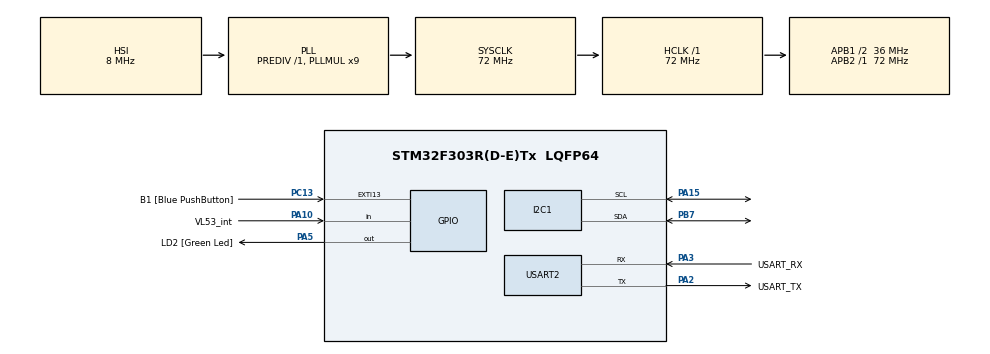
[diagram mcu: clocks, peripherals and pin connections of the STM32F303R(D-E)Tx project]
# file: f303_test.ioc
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Mcu.Family=STM32F3
Mcu.Name=STM32F303R(D-E)Tx
Mcu.Package=LQFP64
NVIC.PriorityGroup=NVIC_PRIORITYGROUP_0
PA10.GPIO_Label=VL53_int
PA10.Signal=GPIO_Input
PA13.GPIO_Label=TMS
PA13.Mode=Serial_Wire
PA13.Signal=SYS_JTMS-SWDIO
PA14.GPIO_Label=TCK
PA14.Mode=Serial_Wire
PA14.Signal=SYS_JTCK-SWCLK
PA15.Mode=I2C
PA15.Signal=I2C1_SCL
PA2.GPIO_Label=USART_TX
PA2.GPIO_Mode=GPIO_MODE_AF_PP
PA2.GPIO_PuPd=GPIO_NOPULL
PA2.GPIO_Speed=GPIO_SPEED_FREQ_LOW
PA2.Mode=Asynchronous
PA2.Signal=USART2_TX
PA3.GPIO_Label=USART_RX
PA3.GPIO_Mode=GPIO_MODE_AF_PP
PA3.GPIO_PuPd=GPIO_NOPULL
PA3.GPIO_Speed=GPIO_SPEED_FREQ_LOW
PA3.Mode=Asynchronous
PA3.Signal=USART2_RX
PA5.GPIO_Label=LD2 [Green Led]
PA5.GPIO_Mode=GPIO_MODE_OUTPUT_PP
PA5.GPIO_PuPd=GPIO_NOPULL
PA5.GPIO_Speed=GPIO_SPEED_FREQ_LOW
PA5.Signal=GPIO_Output
PB3.GPIO_Label=SWO
PB3.Signal=SYS_JTDO-TRACESWO
PB7.Mode=I2C
PB7.Signal=I2C1_SDA
PC13.GPIO_Label=B1 [Blue PushButton]
PC13.GPIO_ModeDefaultEXTI=GPIO_MODE_IT_FALLING
PC13.Signal=GPXTI13
PC14-OSC32_IN.Mode=LSE-External-Oscillator
PC14-OSC32_IN.Signal=RCC_OSC32_IN
PC15-OSC32_OUT.Mode=LSE-External-Oscillator
PC15-OSC32_OUT.Signal=RCC_OSC32_OUT
PF0-OSC_IN.Mode=HSE-External-Clock-Source
PF0-OSC_IN.Signal=RCC_OSC_IN
PF1-OSC_OUT.Signal=RCC_OSC_OUT
ProjectManager.HeapSize=0x200
ProjectManager.StackSize=0x400
ProjectManager.TargetToolchain=STM32CubeIDE
RCC.AHBFreq_Value=72000000
RCC.APB1CLKDivider=RCC_HCLK_DIV2
RCC.APB1Freq_Value=36000000
RCC.APB1TimFreq_Value=72000000
RCC.APB2Freq_Value=72000000
RCC.APB2TimFreq_Value=72000000
RCC.CortexFreq_Value=72000000
RCC.HCLKFreq_Value=72000000
RCC.HSE_VALUE=8000000
RCC.HSI_VALUE=8000000
RCC.PLLM=8
RCC.PLLMUL=RCC_PLL_MUL9
RCC.PLLN=336
RCC.PLLP=RCC_PLLP_DIV4
RCC.PLLQ=7
RCC.RCC_PLLsource_Clock_Source_FROM_HSE=RCC_HSE_PREDIV_DIV2
RCC.SYSCLKFreq_VALUE=72000000
RCC.SYSCLKSourceVirtual=RCC_SYSCLKSOURCE_PLLCLK
RCC.USBFreq_Value=72000000
USART2.VirtualMode-Asynchronous=VM_ASYNC
board=NUCLEO-F303RE

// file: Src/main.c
/* USER CODE BEGIN Header */
/**
  ******************************************************************************
  * @file           : main.c
  * @brief          : Main program body
  ******************************************************************************
  * @attention
  *
  * <h2><center>&copy; Copyright (c) 2021 STMicroelectronics.
  * All rights reserved.</center></h2>
  *
  * This software component is licensed by ST under BSD 3-Clause license,
  * the "License"; You may not use this file except in compliance with the
  * License. You may obtain a copy of the License at:
  *                        opensource.org/licenses/BSD-3-Clause
  *
  ******************************************************************************
  */
/* USER CODE END Header */
#include "main.h"
#include "i2c.h"
#include "usart.h"
#include "gpio.h"

/* USER CODE BEGIN Includes */
#include "VL53L1X_api.h"
#include "VL53L1X_calibration.h"
#include "vl53l1_platform.h"
/* USER CODE END Includes */

/* USER CODE BEGIN PV */

uint16_t	dev=0x52;
int status=0;
volatile int IntCount;
#define isInterrupt 0
I2C_HandleTypeDef hi2c1;

/* USER CODE END PV */

/* USER CODE BEGIN PFP */
void SystemClock_Config(void);

/* USER CODE END PFP */

/* USER CODE BEGIN 0 */

// dis importanmt
int _write(int fd, char * ptr, int len){
  HAL_UART_Transmit(&huart2, (uint8_t *)ptr, len, 0xffff);
  return len;
}

void HAL_GPIO_EXTI_Callback(uint16_t GPIO_Pin)
{
		if (GPIO_Pin==VL53_int_GPIO_Port)
		{
			IntCount++;
		}
}
/* USER CODE END 0 */

int main(void)
{
  /* USER CODE BEGIN 1 */
  uint8_t byteData, sensorState=0;
  uint16_t wordData;
  uint8_t ToFSensor = 1; // 0=Left, 1=Center(default), 2=Right
  uint16_t Distance;
  uint16_t SignalRate;
  uint16_t AmbientRate;
  uint16_t SpadNum;
  uint8_t RangeStatus;
  uint8_t dataReady;
  /* USER CODE END 1 */

  /* MCU Configuration--------------------------------------------------------*/

  /* Reset of all peripherals, Initializes the Flash interface and the Systick. */
  HAL_Init();

  /* Configure the system clock */
  SystemClock_Config();

  /* Initialize all configured peripherals */
  MX_GPIO_Init();
  MX_I2C1_Init();
  MX_USART2_UART_Init();
  /* USER CODE BEGIN 2 */

  ToFSensor = 1; // Select ToFSensor: 0=Left, 1=Center, 2=Right
  //status = VLO53L1_ResetId(ToFSensor, 0); // Reset ToF sensor
  HAL_Delay(2);
  //status = XNUCLEO53L1A1_ResetId(ToFSensor, 1); // Reset ToF sensor
  HAL_Delay(2);
  char text[] = "asd";
  HAL_UART_Transmit(&huart2, (uint8_t*)&text, 4, 0xFFFF);

/* Those basic I2C read functions can be used to check your own I2C functions */
  status = VL53L1_RdByte(dev, 0x010F, &byteData);
  printf("status: %d\n",status);
  printf("VL53L1X Model_ID: %X\n", byteData);
  status = VL53L1_RdByte(dev, 0x0110, &byteData);
  printf("VL53L1X Module_Type: %X\n", byteData);
  status = VL53L1_RdWord(dev, 0x010F, &wordData);
  printf("VL53L1X: %X\n", wordData);
  while(sensorState==0){
		status = VL53L1X_BootState(dev, &sensorState);
	HAL_Delay(2);
  }
  printf("Chip booted\n");

  /* This function must to be called to initialize the sensor with the default setting  */
  status = VL53L1X_SensorInit(dev);

  /* Optional functions to be used to change the main ranging parameters according the application requirements to get the best ranging performances */
  status = VL53L1X_SetDistanceMode(dev, 2); /* 1=short, 2=long */
  status = VL53L1X_SetTimingBudgetInMs(dev, 100); /* in ms possible values [20, 50, 100, 200, 500] */
  status = VL53L1X_SetInterMeasurementInMs(dev, 100); /* in ms, IM must be > = TB */
  printf("VL53L1X Ultra Lite Driver Example running ...\n");
  status = VL53L1X_StartRanging(dev);   /* This function has to be called to enable the ranging */
  /* USER CODE END 2 */

  /* Infinite loop */
  while (1)
  {
	  while (dataReady == 0){
		  status = VL53L1X_CheckForDataReady(dev, &dataReady);
		  HAL_Delay(2);
	  }
	  dataReady = 0;
	  status = VL53L1X_GetRangeStatus(dev, &RangeStatus);
	  status = VL53L1X_GetDistance(dev, &Distance);
	  status = VL53L1X_GetSignalRate(dev, &SignalRate);
	  status = VL53L1X_GetAmbientRate(dev, &AmbientRate);
	  status = VL53L1X_GetSpadNb(dev, &SpadNum);
	  status = VL53L1X_ClearInterrupt(dev); /* clear interrupt has to be called to enable next interrupt*/
	  printf("%u, %u, %u, %u, %u\n", RangeStatus, Distance, SignalRate, AmbientRate,SpadNum);
  }
}

void SystemClock_Config(void)
{
  RCC_OscInitTypeDef RCC_OscInitStruct = {0};
  RCC_ClkInitTypeDef RCC_ClkInitStruct = {0};
  RCC_PeriphCLKInitTypeDef PeriphClkInit = {0};

  /** Initializes the RCC Oscillators according to the specified parameters
  * in the RCC_OscInitTypeDef structure.
  */
  RCC_OscInitStruct.OscillatorType = RCC_OSCILLATORTYPE_HSI;
  RCC_OscInitStruct.HSIState = RCC_HSI_ON;
  RCC_OscInitStruct.HSICalibrationValue = RCC_HSICALIBRATION_DEFAULT;
  RCC_OscInitStruct.PLL.PLLState = RCC_PLL_ON;
  RCC_OscInitStruct.PLL.PLLSource = RCC_PLLSOURCE_HSI;
  RCC_OscInitStruct.PLL.PLLMUL = RCC_PLL_MUL9;
  RCC_OscInitStruct.PLL.PREDIV = RCC_PREDIV_DIV1;
  if (HAL_RCC_OscConfig(&RCC_OscInitStruct) != HAL_OK)
  {
    Error_Handler();
  }
  /** Initializes the CPU, AHB and APB buses clocks
  */
  RCC_ClkInitStruct.ClockType = RCC_CLOCKTYPE_HCLK|RCC_CLOCKTYPE_SYSCLK
                              |RCC_CLOCKTYPE_PCLK1|RCC_CLOCKTYPE_PCLK2;
  RCC_ClkInitStruct.SYSCLKSource = RCC_SYSCLKSOURCE_PLLCLK;
  RCC_ClkInitStruct.AHBCLKDivider = RCC_SYSCLK_DIV1;
  RCC_ClkInitStruct.APB1CLKDivider = RCC_HCLK_DIV2;
  RCC_ClkInitStruct.APB2CLKDivider = RCC_HCLK_DIV1;

  if (HAL_RCC_ClockConfig(&RCC_ClkInitStruct, FLASH_LATENCY_2) != HAL_OK)
  {
    Error_Handler();
  }
  PeriphClkInit.PeriphClockSelection = RCC_PERIPHCLK_USART2|RCC_PERIPHCLK_I2C1;
  PeriphClkInit.Usart2ClockSelection = RCC_USART2CLKSOURCE_PCLK1;
  PeriphClkInit.I2c1ClockSelection = RCC_I2C1CLKSOURCE_HSI;
  if (HAL_RCCEx_PeriphCLKConfig(&PeriphClkInit) != HAL_OK)
  {
    Error_Handler();
  }
}

void Error_Handler(void)
{
  __disable_irq();
  while (1)
  {
  }
}

/************************ (C) COPYRIGHT STMicroelectronics *****END OF FILE****/
